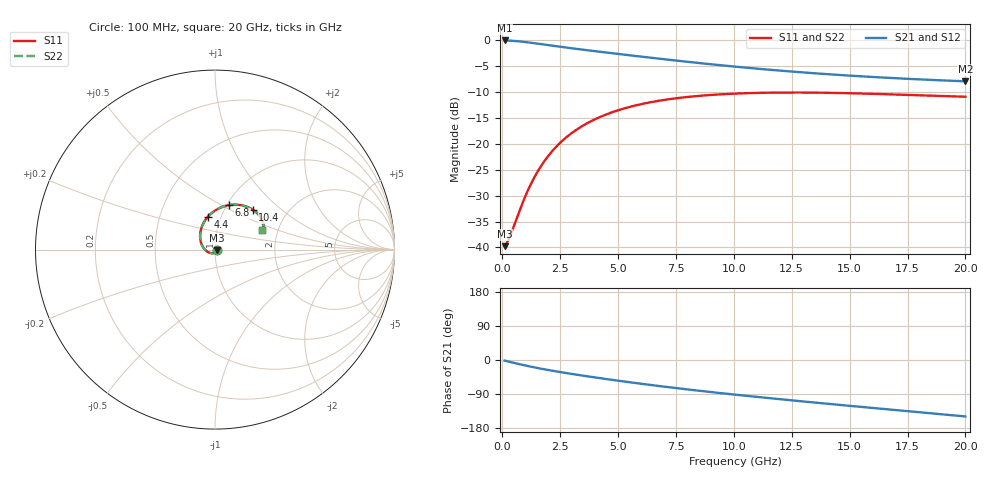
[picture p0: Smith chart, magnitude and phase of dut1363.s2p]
! Touchstone file exported from HFSS 2024.1.0
!  File:  C:/UserFiles/LocalFiles/RDL_TSV_Batchsim/temp_RDL_TSV_1363_1780396840.aedt
!  Generated:  06:57:04 PM Jun  2, 2026
!  Design:  RDL_TSV
!  Project:  temp_RDL_TSV_1363_1780396840
!  Setup:  Setup1
!  Solution:  Sweep
! Variables:
!  dtsv = 13.1um
!  hbump = 3um
!  htsv = 82.22um
!  ldown = 429.63um
!  lrdl = 119.47um
!  p = 40
!  p1 = 52.23um
!  rhole = 10um
!  subl = 1766.77um
!  t = 450um
!  tdown = 4.64um
!  trdl = 3.88um
!  viad = 10um
!  wdown = 13.27um
!  wrdl = 21.69um
!  xbump = 18um
# GHz S MA R 50.000000
! Terminal data exported
! Port[1] = TM1_1_T1
! Port[2] = TM1_4_T1
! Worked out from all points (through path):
!   200 points, 100 MHz to 20 GHz, reference 50 ohm
!   highest |S21| = -0.09 dB at 100 MHz (marker M1); lowest = -8.0 dB at 20 GHz (marker M2)
!   group delay of S21, straight-line fit = 19.3 ps
!   lowest |S11| = -39.7 dB at 100 MHz (marker M3), VSWR 1.02, Z = 51 - j0.352 ohm
!   |S11| at or under -10 dB: start of sweep to end of sweep
!   |S22| runs from -39.7 to -10.1 dB; largest |S21 - S12| = 1.2e-14
!   S11 on the Smith chart (normalised r, x): 100 MHz: 1.02, -0.01; 4.4 GHz: 0.87, +0.33; 6.8 GHz: 1.03, +0.55; 10.4 GHz: 1.35, +0.66; 20 GHz: 1.65, +0.39
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0.1  0.01029 -19.6  0.9894 -1.6  0.9894 -1.6  0.01029 -19.6
! Gamma 0 0 0 0
! Port Impedance 50 0 50 0
0.2  0.01109 -38.7  0.988 -3.1  0.988 -3.1  0.01109 -38.7
0.3  0.01234 -56.8  0.9857 -4.6  0.9857 -4.6  0.01234 -56.8
0.8  0.02434 -124.2  0.9659 -11.9  0.9659 -11.9  0.02434 -124.2
1.1  0.03526 -150.3  0.9489 -15.9  0.9489 -15.9  0.03525 -150.2
1.4  0.0481 -170.1  0.93 -19.7  0.93 -19.7  0.04809 -170.1
1.7  0.06221 174.1  0.9105 -23.3  0.9105 -23.3  0.0622 174.2
2.1  0.08204 157.3  0.8849 -27.7  0.8849 -27.7  0.08202 157.3
2.5  0.1022 143.7  0.8605 -31.8  0.8605 -31.8  0.1021 143.7
3  0.1268 129.8  0.8319 -36.8  0.8319 -36.8  0.1268 129.8
3.5  0.1502 118.4  0.8053 -41.5  0.8053 -41.5  0.1502 118.4
4.4  0.1881 101.9  0.7612 -49.5  0.7612 -49.5  0.1881 101.9
5.5  0.2263 86.4  0.7119 -58.7  0.7119 -58.7  0.2262 86.4
6.8  0.2603 72.2  0.6593 -68.9  0.6593 -68.9  0.2602 72.2
8.4  0.2881 58.9  0.6026 -80.4  0.6026 -80.4  0.288 58.9
10.1  0.3044 48.1  0.552 -91.7  0.552 -91.7  0.3044 48.1
10.4  0.3062 46.4  0.5441 -93.7  0.5441 -93.7  0.3062 46.5
11.8  0.311 39.8  0.5107 -102.3  0.5107 -102.3  0.311 39.8
13.4  0.3109 33.7  0.4791 -111.8  0.4791 -111.8  0.3109 33.7
15  0.3067 29.1  0.4533 -120.9  0.4533 -120.9  0.3067 29.1
16.7  0.2995 25.6  0.4312 -130.5  0.4312 -130.5  0.2995 25.6
20  0.2837 22.6  0.3995 -149.0  0.3995 -149.0  0.2838 22.6
